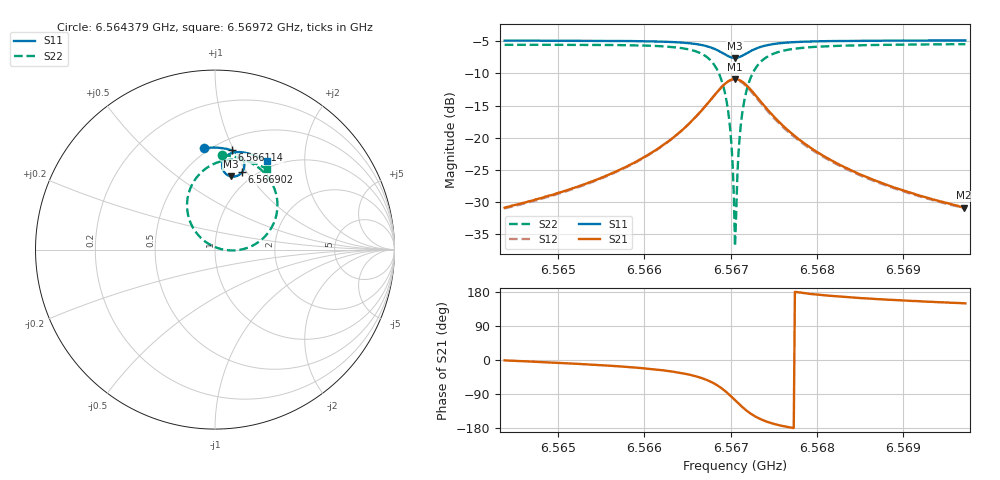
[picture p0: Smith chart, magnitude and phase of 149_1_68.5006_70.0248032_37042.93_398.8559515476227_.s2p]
#  HZ  S  RI  R  50.00
! Rohde & Schwarz Vector Network Analyzer
! Rohde-Schwarz,ZNB20-2Port,1311601062101988,3.16
! Created: UTC 3/20/2024, 4:55:11 PM
! freq[Hz]  re:S11  im:S11  re:S21  im:S21  re:S12  im:S12  re:S22  im:S22
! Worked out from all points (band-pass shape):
!   401 points, 6.564379 GHz to 6.56972 GHz, reference 50 ohm
!   highest |S21| = -10.88 dB at 6.567049 GHz (marker M1); lowest = -30.9 dB at 6.569706 GHz (marker M2)
!   |S21| within 3 dB of the highest: 6.566782 GHz to 6.567316 GHz (533.8 kHz wide, 0.00813 % of centre)
!   lowest |S11| = -7.6 dB at 6.567049 GHz (marker M3), VSWR 2.43, Z = 41.4 + j40.9 ohm
!   |S11| at or under -10 dB: nowhere
!   |S22| runs from -36.9 to -5.4 dB; largest |S21 - S12| = 0.014
!   S11 on the Smith chart (normalised r, x): 6.564379 GHz: 0.47, +0.78; 6.566114 GHz: 0.61, +0.98; 6.566902 GHz: 0.87, +0.95; 6.56972 GHz: 0.90, +1.32
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6.5643787e9  -0.0608 0.566  0.0284 -0.000475  0.0281 -0.00097  0.0406 0.5266
6.5652733e9  0.0129 0.568  0.0419 -0.0081  0.0412 -0.00855  0.1265 0.5126
6.5661145e9  0.0921 0.5536  0.0715 -0.033  0.0704 -0.0337  0.2384 0.46
6.5661679e9  0.0979 0.5513  0.0747 -0.0364  0.0735 -0.0374  0.2479 0.4528
6.5666753e9  0.1571 0.5  0.1101 -0.125  0.1075 -0.1276  0.346 0.2802
6.5668088e9  0.1634 0.464  0.0994 -0.1882  0.0945 -0.1916  0.332 0.1596
6.5669023e9  0.1509 0.4318  0.0605 -0.2433  0.0519 -0.2462  0.2612 0.057
6.5669423e9  0.1385 0.4193  0.0307 -0.2638  0.0204 -0.2652  0.2061 0.0205
6.5669824e9  0.1217 0.4101  -0.00686 -0.2772  -0.0187 -0.2764  0.1371 -0.00147
6.5670091e9  0.1083 0.4069  -0.0351 -0.2806  -0.0473 -0.2776  0.0863 -0.00467
6.5670358e9  0.0946 0.407  -0.064 -0.2782  -0.0764 -0.2731  0.0348 0.00251
6.5670492e9  0.0878 0.408  -0.0784 -0.2749  -0.0904 -0.2686  0.0099 0.0103
6.5670759e9  0.0747 0.4127  -0.1057 -0.2639  -0.1167 -0.2557  -0.0369 0.0328
6.5671026e9  0.0631 0.4199  -0.1298 -0.2482  -0.1393 -0.2383  -0.0771 0.0638
6.5671426e9  0.0497 0.4343  -0.1581 -0.2186  -0.1647 -0.2071  -0.1216 0.12
6.567196e9  0.0408 0.4563  -0.1795 -0.1746  -0.1824 -0.1629  -0.1514 0.1997
6.5672628e9  0.0407 0.4821  -0.1855 -0.1245  -0.1849 -0.1143  -0.1526 0.2877
6.5675031e9  0.0781 0.5309  -0.1424 -0.0281  -0.1391 -0.0238  -0.0543 0.4494
6.5679438e9  0.141 0.5431  -0.0813 0.00862  -0.0794 0.00984  0.0834 0.5006
6.5688384e9  0.2249 0.5231  -0.0394 0.0149  -0.0385 0.0155  0.2142 0.4832
6.5697063e9  0.2895 0.4922  -0.0246 0.0143  -0.0242 0.0146  0.2913 0.4481
6.5697196e9  0.2905 0.4916  -0.0245 0.0145  -0.0239 0.0145  0.2923 0.4473
